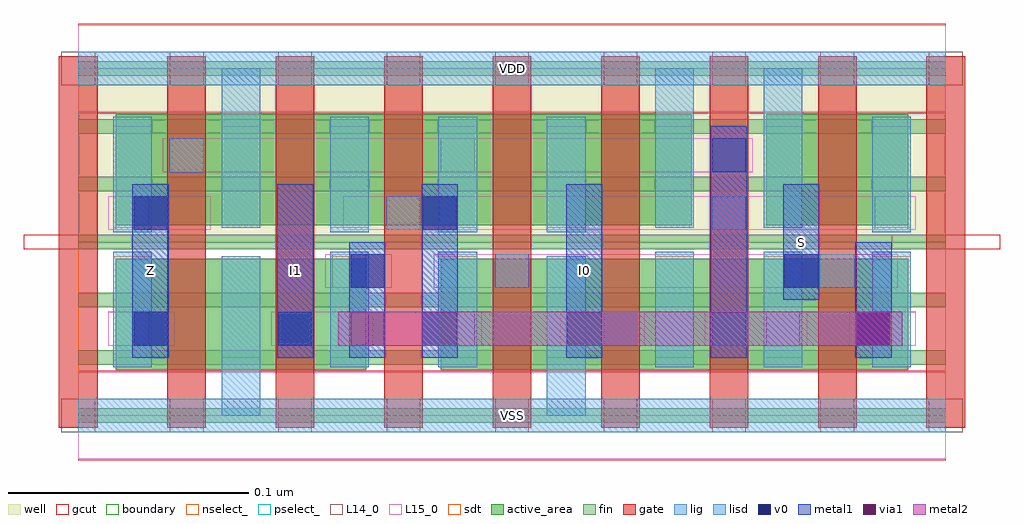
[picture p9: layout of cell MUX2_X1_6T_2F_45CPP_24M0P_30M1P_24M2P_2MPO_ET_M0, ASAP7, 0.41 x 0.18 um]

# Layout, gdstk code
import gdstk
lib = gdstk.Library(unit=1e-6, precision=2.5e-10)
def R(c, l, rs):  # rectangles x0, y0, x1, y1
    for r in rs: c.add(gdstk.rectangle(r[:2], r[2:], *l))
def A(c, l, x, y, w, h, nx, ny, dx, dy):  # array of equal rectangles
    R(c, l, [(x+i*dx, y+j*dy, x+i*dx+w, y+j*dy+h) for i in range(nx) for j in range(ny)])
well = (1, 0)
fin = (2, 0)
gate = (7, 0)
gcut = (10, 0)
active_area = (11, 0)
nselect_ = (12, 0)
pselect_ = (13, 0)
L14_0 = (14, 0)
L15_0 = (15, 0)
lig = (16, 0)
lisd = (17, 0)
v0 = (18, 0)
metal1 = (19, 0)
metal2 = (20, 0)
via1 = (21, 0)
sdt = (88, 0)
boundary = (100, 0)

mux2_x1_6t_2f_45cpp_24m0 = lib.new_cell('MUX2_X1_6T_2F_45CPP_24M0P_30M1P_24M2P_2MPO_ET_M0')
R(mux2_x1_6t_2f_45cpp_24m0, well, [(0,0.072,0.36,0.144)])
A(mux2_x1_6t_2f_45cpp_24m0, fin, 0, -0.003, 0.36, 0.006, 1, 7, 0, 0.024)
A(mux2_x1_6t_2f_45cpp_24m0, gate, -0.008, -0.005, 0.016, 0.154, 9, 1, 0.045, 0)
R(mux2_x1_6t_2f_45cpp_24m0, gcut, [(0,-0.0185,0.36,0.0185), (-0.0225,0.069,0.0225,0.075), (0.3375,0.069,0.3825,0.075), (0,0.1255,0.36,0.1625)])
A(mux2_x1_6t_2f_45cpp_24m0, active_area, 0.1505, 0.019, 0.059, 0.046, 4, 1, 0.045, 0)
A(mux2_x1_6t_2f_45cpp_24m0, active_area, 0.0155, 0.079, 0.059, 0.046, 5, 1, 0.045, 0)
R(mux2_x1_6t_2f_45cpp_24m0, active_area, [(0.0155,0.019,0.0745,0.065), (0.0605,0.019,0.1195,0.065), (0.2855,0.079,0.3445,0.125)])
R(mux2_x1_6t_2f_45cpp_24m0, nselect_, [(0,0,0.36,0.072)])
R(mux2_x1_6t_2f_45cpp_24m0, pselect_, [(0,0.072,0.36,0.144)])
A(mux2_x1_6t_2f_45cpp_24m0, L14_0, -0.007, -0.007, 0.014, 0.014, 9, 2, 0.045, 0.144)
A(mux2_x1_6t_2f_45cpp_24m0, L14_0, 0.0155, 0.029, 0.014, 0.014, 5, 1, 0.0675, 0)
R(mux2_x1_6t_2f_45cpp_24m0, L14_0, [(0.3305,0.029,0.3445,0.043), (0.1055,0.053,0.1195,0.067), (0.173,0.053,0.187,0.067), (0.308,0.053,0.322,0.067), (0.0155,0.077,0.0295,0.091), (0.128,0.077,0.142,0.091), (0.263,0.077,0.277,0.091), (0.3305,0.077,0.3445,0.091), (0.038,0.101,0.052,0.115), (0.1505,0.101,0.1645,0.115)])
R(mux2_x1_6t_2f_45cpp_24m0, L15_0, [(0,-0.018,0.36,0.018), (0.0125,0.029,0.04,0.043), (0.08,0.029,0.1225,0.043), (0.14,0.029,0.1675,0.043), (0.2,0.029,0.235,0.043), (0.26,0.029,0.3025,0.043), (0.32,0.029,0.3475,0.043), (0.1025,0.053,0.13,0.067), (0.1475,0.053,0.34,0.067), (0.0125,0.077,0.055,0.091), (0.11,0.077,0.3475,0.091), (0.035,0.101,0.28,0.115), (0,0.126,0.36,0.162)])
R(mux2_x1_6t_2f_45cpp_24m0, lig, [(0,-0.007,0.36,0.007), (0.083,0.029,0.097,0.043), (0.218,0.029,0.232,0.043), (0.173,0.053,0.187,0.067), (0.308,0.053,0.322,0.067), (0.128,0.077,0.142,0.091), (0.263,0.077,0.277,0.091), (0.038,0.101,0.052,0.115), (0,0.137,0.36,0.151)])
A(mux2_x1_6t_2f_45cpp_24m0, lisd, 0.2395, 0.02, 0.016, 0.048, 3, 1, 0.045, 0)
A(mux2_x1_6t_2f_45cpp_24m0, lisd, 0.1045, 0.076, 0.016, 0.048, 3, 1, 0.045, 0)
R(mux2_x1_6t_2f_45cpp_24m0, lisd, [(0.0595,0,0.0755,0.066), (0.1945,0,0.2105,0.066), (0.0145,0.02,0.0305,0.068), (0.1045,0.02,0.1205,0.068), (0.1495,0.02,0.1655,0.068), (0.0145,0.076,0.0305,0.124), (0.3295,0.076,0.3455,0.124), (0.0595,0.078,0.0755,0.144), (0.2395,0.078,0.2555,0.144), (0.2845,0.078,0.3005,0.144)])
A(mux2_x1_6t_2f_45cpp_24m0, v0, 0.023, 0.029, 0.014, 0.014, 6, 1, 0.06, 0)
R(mux2_x1_6t_2f_45cpp_24m0, v0, [(0.113,0.053,0.127,0.067), (0.293,0.053,0.307,0.067), (0.023,0.077,0.037,0.091), (0.143,0.077,0.157,0.091), (0.263,0.101,0.277,0.115)])
A(mux2_x1_6t_2f_45cpp_24m0, metal1, 0.0225, 0.024, 0.015, 0.072, 4, 1, 0.06, 0)
R(mux2_x1_6t_2f_45cpp_24m0, metal1, [(0.1125,0.024,0.1275,0.072), (0.2625,0.024,0.2775,0.12), (0.3225,0.024,0.3375,0.072), (0.2925,0.048,0.3075,0.096)])
R(mux2_x1_6t_2f_45cpp_24m0, metal2, [(0.108,0.029,0.342,0.043)])
R(mux2_x1_6t_2f_45cpp_24m0, via1, [(0.113,0.029,0.127,0.043), (0.323,0.029,0.337,0.043)])
A(mux2_x1_6t_2f_45cpp_24m0, sdt, 0.0145, 0.024, 0.016, 0.042, 8, 2, 0.045, 0.054)
R(mux2_x1_6t_2f_45cpp_24m0, boundary, [(0,0,0.36,0.144)])
mux2_x1_6t_2f_45cpp_24m0.add(gdstk.Label('Z', (0.03,0.06), layer=19, texttype=251))
mux2_x1_6t_2f_45cpp_24m0.add(gdstk.Label('I0', (0.21,0.06), layer=19, texttype=251))
mux2_x1_6t_2f_45cpp_24m0.add(gdstk.Label('I1', (0.09,0.06), layer=19, texttype=251))
mux2_x1_6t_2f_45cpp_24m0.add(gdstk.Label('S', (0.3,0.072), layer=19, texttype=251))
mux2_x1_6t_2f_45cpp_24m0.add(gdstk.Label('VDD', (0.18,0.144), layer=15, texttype=251))
mux2_x1_6t_2f_45cpp_24m0.add(gdstk.Label('VSS', (0.18,0), layer=15, texttype=251))
mux2_x1_6t_2f_45cpp_24m0.add(gdstk.Label('VDD', (0.18,0.144), layer=1, texttype=251))
mux2_x1_6t_2f_45cpp_24m0.add(gdstk.Label('VSS', (0.18,0), layer=3, texttype=251))

lib.write_gds('MUX2_X1_6T_2F_45CPP_24M0P_30M1P_24M2P_2MPO_ET_M0.gds')
